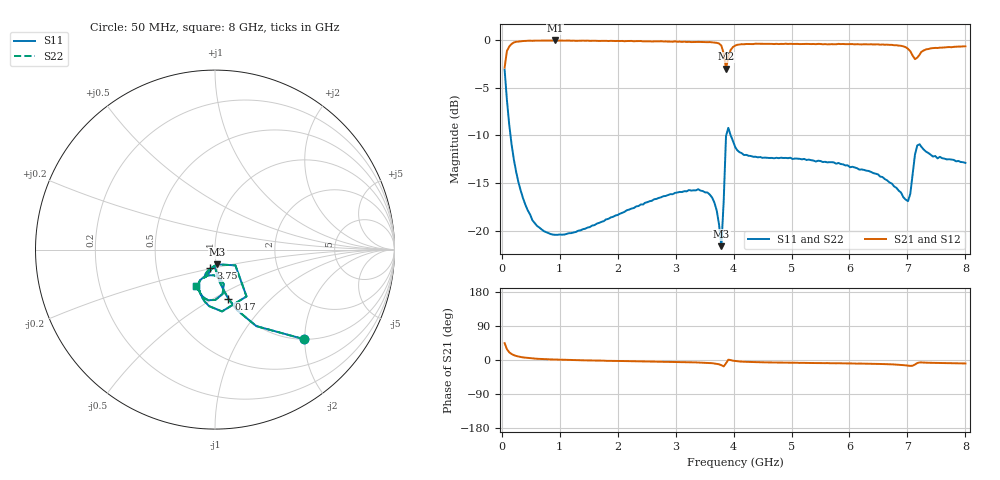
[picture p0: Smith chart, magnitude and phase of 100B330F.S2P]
!  American Technical Ceramics  Date:  3/13/98
!  One Norden Lane
!  Huntington Station,  NY.  11746-2102
!  Tel:  (516) 547-5700  Fax:  (516) 547-5748
!  Part Number  100b330f
!  Description: Porcelain, High Q, Low ESR
!  Application: Bypass, Coupling, Timing, Feedback
!  Tuning, Impedance Match, Blocking
# GHZ S DB R 50
! Freq  |S11|  S11 Ph  |S21|  S21 Ph  |S12|  S12 Ph  |S22|  S22 Ph
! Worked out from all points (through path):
!   201 points, 50 MHz to 8 GHz, reference 50 ohm
!   highest |S21| = -0.03 dB at 920 MHz (marker M1); lowest = -3.0 dB at 3.87 GHz (marker M2)
!   group delay of S21, straight-line fit = 6.05 ps
!   lowest |S11| = -21.6 dB at 3.79 GHz (marker M3), VSWR 1.18, Z = 50.6 - j8.37 ohm
!   |S11| at or under -10 dB: 151.9 MHz to 3.872 GHz (3.72 GHz wide, 185 % of centre); 3.951 GHz to end of sweep
!   |S22| runs from -21.6 to -3.1 dB; largest |S21 - S12| = 0
!   S11 on the Smith chart (normalised r, x): 50 MHz: 1.01, -1.97; 170 MHz: 0.99, -0.59; 3.75 GHz: 0.93, -0.20; 8 GHz: 0.75, -0.32
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0.05  -3.08 -45.3  -2.88 44.4  -2.88 44.4  -3.08 -45.3
0.09  -6.30 -61.7  -1.14 28.5  -1.14 28.5  -6.30 -61.7
0.17  -10.92 -74.7  -0.40 15.8  -0.40 15.8  -10.92 -74.7
0.33  -15.83 -83.2  -0.11 7.8  -0.11 7.8  -15.83 -83.2
0.53  -18.89 -87.8  -0.07 4.1  -0.07 4.1  -18.89 -87.8
0.92  -20.42 -93.0  -0.03 1.1  -0.03 1.1  -20.42 -93.0
1.4  -19.83 -97.8  -0.05 -0.7  -0.05 -0.7  -19.83 -97.8
2.71  -16.55 -107.3  -0.13 -4.4  -0.13 -4.4  -16.55 -107.3
3.55  -15.98 -110.9  -0.21 -7.6  -0.21 -7.6  -15.98 -110.9
3.67  -17.05 -111.0  -0.26 -9.2  -0.26 -9.2  -17.05 -111.0
3.75  -19.35 -103.9  -0.35 -11.4  -0.35 -11.4  -19.35 -103.9
3.79  -21.61 -81.2  -0.57 -13.7  -0.57 -13.7  -21.61 -81.2
3.83  -16.86 -37.7  -1.41 -16.9  -1.41 -16.9  -16.86 -37.7
3.87  -10.05 -56.1  -2.99 -8.6  -2.99 -8.6  -10.05 -56.1
3.91  -9.20 -83.5  -1.79 0.8  -1.79 0.8  -9.20 -83.5
4.03  -11.23 -105.3  -0.57 -2.6  -0.57 -2.6  -11.23 -105.3
5.38  -12.63 -115.4  -0.40 -8.0  -0.40 -8.0  -12.63 -115.4
6.69  -14.92 -114.7  -0.49 -11.2  -0.49 -11.2  -14.92 -114.7
7.01  -16.89 -92.8  -0.91 -14.9  -0.91 -14.9  -16.89 -92.8
7.13  -12.01 -80.2  -1.99 -11.9  -1.99 -11.9  -12.01 -80.2
7.21  -10.92 -97.6  -1.52 -6.5  -1.52 -6.5  -10.92 -97.6
8  -12.87 -118.0  -0.65 -9.1  -0.65 -9.1  -12.87 -118.0
